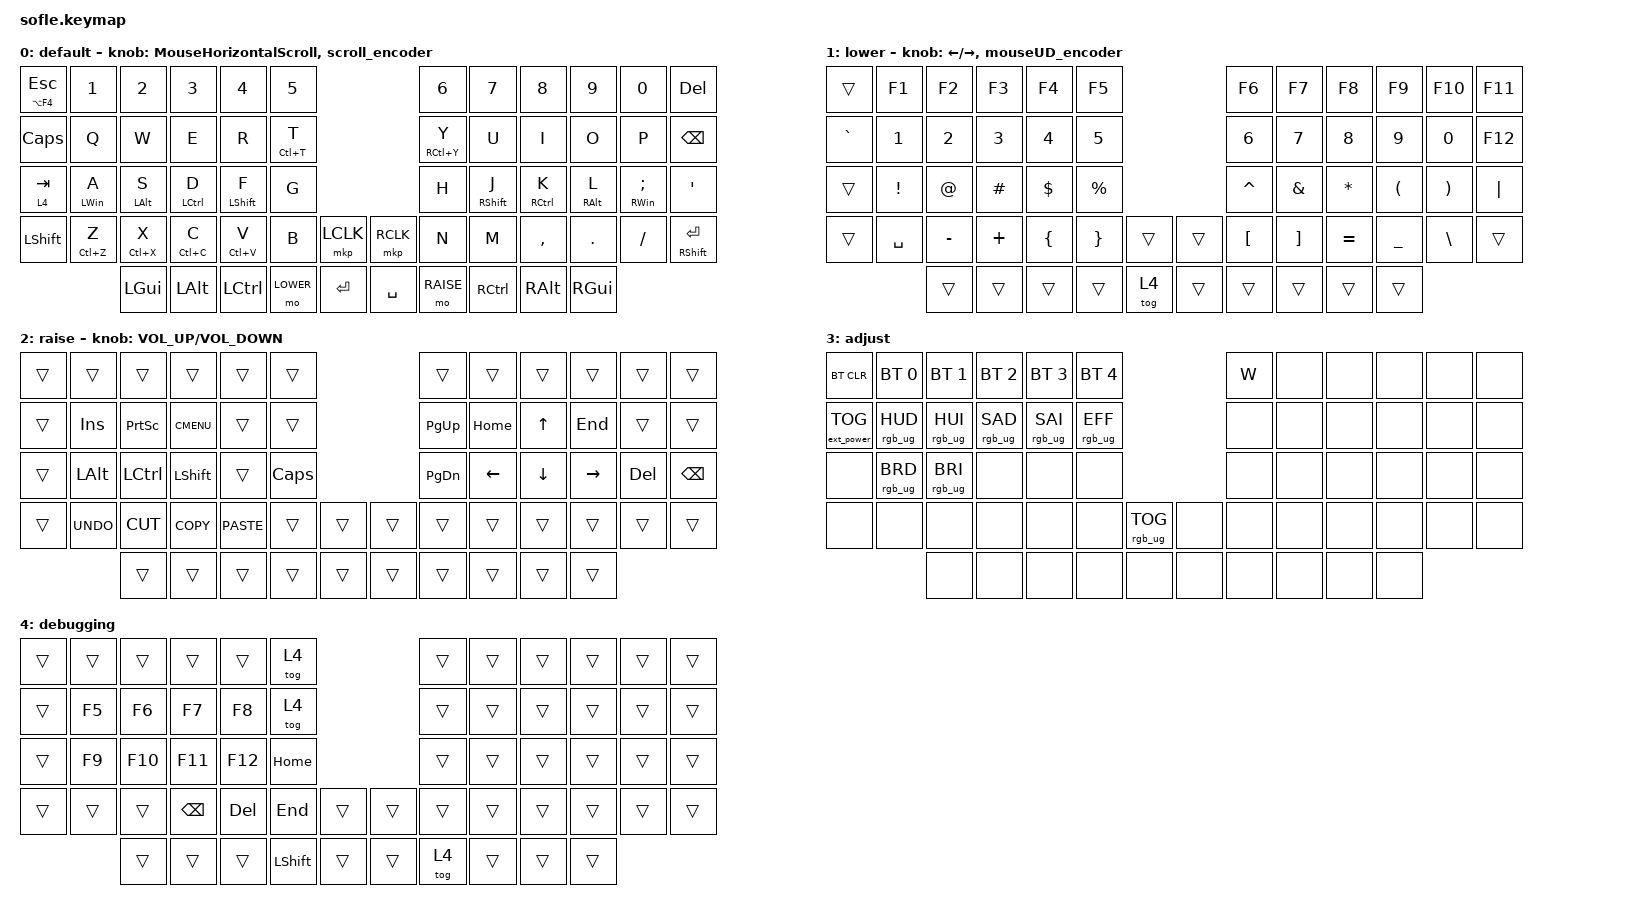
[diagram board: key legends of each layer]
/*
 * Copyright (c) 2020 The ZMK Contributors
 *
 * SPDX-License-Identifier: MIT
 */

#define ZMK_POINTING_DEFAULT_MOVE_VAL 24000   // default is 600
#define ZMK_POINTING_DEFAULT_SCRL_VAL 30     // default is 10

#include <behaviors.dtsi>
#include <dt-bindings/zmk/bt.h>
#include <dt-bindings/zmk/ext_power.h>
#include <dt-bindings/zmk/keys.h>
#include <dt-bindings/zmk/pointing.h>
#include <dt-bindings/zmk/rgb.h>

#define BASE 0
#define LOWER 1
#define RAISE 2
#define ADJUST 3

/ {
    // Activate ADJUST layer by pressing raise and lower

    conditional_layers {
        compatible = "zmk,conditional-layers";

        adjust_layer {
            if-layers = <LOWER RAISE>;
            then-layer = <ADJUST>;
        };
    };

    behaviors {
        scroll_encoder: scroll_encoder {
            compatible = "zmk,behavior-sensor-rotate";
            label = "SCROLL_ENCODER";
            #sensor-binding-cells = <0>;
            bindings = <&msc SCRL_UP>, <&msc SCRL_DOWN>;

            tap-ms = <50>;
        };

        mouseUD_encoder: mouseUD_encoder {
            compatible = "zmk,behavior-sensor-rotate";
            label = "MOUSEUD_ENCODER";
            #sensor-binding-cells = <0>;
            bindings = <&mmv MOVE_UP>, <&mmv MOVE_DOWN>;

            tap-ms = <20>;
        };

        mouseLR_encoder: mouseLR_encoder {
            compatible = "zmk,behavior-sensor-rotate";
            label = "MOUSELR_ENCODER";
            #sensor-binding-cells = <0>;
            bindings = <&mmv MOVE_LEFT>, <&mmv MOVE_RIGHT>;

            tap-ms = <20>;
        };

        HMShiftR: HMShiftR {
            compatible = "zmk,behavior-hold-tap";
            label = "HMSHIFTR";
            bindings = <&kp>, <&kp>;

            #binding-cells = <2>;
            tapping-term-ms = <200>;
            hold-trigger-key-positions = <0 1 2 3 4 5 12 13 14 15 16 17 24 25 26 27 28 29 36 37 38 39 40 41 42 50 51 52 53 54>;
            hold-trigger-on-release;
        };

        HMShiftL: HMShiftL {
            compatible = "zmk,behavior-hold-tap";
            label = "HMSHIFTL";
            bindings = <&kp>, <&kp>;

            #binding-cells = <2>;
            tapping-term-ms = <200>;
            hold-trigger-on-release;
            hold-trigger-key-positions = <6 7 8 9 10 11 18 19 20 21 22 23 30 31 32 33 34 35 43 44 45 46 47 48 49 55 56 57 58 59>;
        };

        HMR: HMR {
            compatible = "zmk,behavior-hold-tap";
            label = "HMR";
            bindings = <&kp>, <&kp>;

            #binding-cells = <2>;
            tapping-term-ms = <250>;
            hold-trigger-key-positions = <0 1 2 3 4 5 12 13 14 15 16 17 24 25 26 27 28 29 36 37 38 39 40 41 42 50 51 52 53 54>;
            hold-trigger-on-release;
            flavor = "tap-preferred";
        };

        HML: HML {
            compatible = "zmk,behavior-hold-tap";
            label = "HML";
            bindings = <&kp>, <&kp>;

            #binding-cells = <2>;
            tapping-term-ms = <250>;
            hold-trigger-on-release;
            hold-trigger-key-positions = <6 7 8 9 10 11 18 19 20 21 22 23 30 31 32 33 34 35 43 44 45 46 47 48 49 55 56 57 58 59>;
            flavor = "tap-preferred";
        };

        LongPress: LongPress {
            compatible = "zmk,behavior-hold-tap";
            label = "LONGPRESS";
            bindings = <&kp>, <&kp>;

            #binding-cells = <2>;
            tapping-term-ms = <350>;
            flavor = "tap-preferred";
        };

        LongPressModifier: LongPressModifier {
            compatible = "zmk,behavior-hold-tap";
            label = "LONGPRESSMODIFIER";
            bindings = <&mo>, <&kp>;

            #binding-cells = <2>;
            tapping-term-ms = <300>;
            flavor = "hold-preferred";
            hold-trigger-key-positions = <13 14 15 16 25 26 27 28 53 29 41 40 39>;
            hold-while-undecided;
        };

        MouseHorizontalScroll: MouseHorizontalScroll {
            compatible = "zmk,behavior-sensor-rotate";
            label = "MOUSEHORIZONTALSCROLL";
            #sensor-binding-cells = <0>;
            bindings = <&msc SCRL_LEFT>, <&msc SCRL_RIGHT>;

            tap-ms = <50>;
        };

        HMRshift2: HMRshift2 {
            compatible = "zmk,behavior-hold-tap";
            label = "HMRSHIFT2";
            bindings = <&kp>, <&kp>;

            #binding-cells = <2>;
            tapping-term-ms = <180>;
            hold-trigger-key-positions = <0 1 2 3 4 5 12 13 14 15 16 17 24 25 26 27 28 29 36 37 38 39 40 41 42 50 51 52 53 54>;
            hold-trigger-on-release;
            flavor = "balanced";
        };

        HMLshift2: HMLshift2 {
            compatible = "zmk,behavior-hold-tap";
            label = "HMLSHIFT2";
            bindings = <&kp>, <&kp>;

            #binding-cells = <2>;
            tapping-term-ms = <180>;
            hold-trigger-on-release;
            hold-trigger-key-positions = <6 7 8 9 10 11 18 19 20 21 22 23 30 31 32 33 34 35 43 44 45 46 47 48 49 55 56 57 58 59>;
            flavor = "balanced";
        };

        LongPressOnRelease: LongPressOnRelease {
            compatible = "zmk,behavior-hold-tap";
            label = "LONGPRESSONRELEASE";
            bindings = <&kp>, <&kp>;

            #binding-cells = <2>;
            tapping-term-ms = <350>;
            flavor = "tap-preferred";
            hold-trigger-on-release;
        };

        LongPressModKeyR: LongPressModKeyR {
            compatible = "zmk,behavior-hold-tap";
            label = "LONGPRESSMODKEYR";
            #binding-cells = <2>;
            tapping-term-ms = <300>;
            flavor = "hold-preferred";
            hold-while-undecided;
            bindings = <&kp>, <&kp>;

            hold-trigger-key-positions = <6 7 8 9 10 11 18 19 20 21 22 23 30 31 32 33 34 35 43 44 45 46 47 48 59 58 57 55>;
        };
    };

    keymap {
        compatible = "zmk,keymap";

        default_layer {
            label = "default";

            // ------------------------------------------------------------------------------------------------------------
            // |   `   |  1  |  2  |  3   |  4   |  5   |                   |  6   |  7    |  8    |  9   |   0   |       |
            // |  ESC  |  Q  |  W  |  E   |  R   |  T   |                   |  Y   |  U    |  I    |  O   |   P   | BKSPC |
            // |  TAB  |  A  |  S  |  D   |  F   |  G   |                   |  H   |  J    |  K    |  L   |   ;   |   '   |
            // | SHIFT |  Z  |  X  |  C   |  V   |  B   |  MUTE  |  |       |  N   |  M    |  ,    |  .   |   /   | SHIFT |
            //               | GUI | ALT  | CTRL | LOWER|  ENTER |  | SPACE | RAISE| CTRL  | ALT   | GUI  |

            bindings = <
&LongPress LA(F4) ESC     &kp N1                       &kp N2                       &kp N3              &kp N4                       &kp N5                                               &kp N6                       &kp N7                    &kp N8        &kp N9            &kp N0               &kp DELETE
&kp CAPSLOCK              &kp Q                        &kp W                        &kp E               &kp R                        &LongPressOnRelease LC(T) T                          &LongPressOnRelease RC(Y) Y  &kp U                     &kp I         &kp O             &kp P                &kp BSPC
&LongPressModifier 4 TAB  &HML LEFT_WIN A              &HML LEFT_ALT S              &HML LCTRL D        &HMLshift2 LSHIFT F          &kp G                                                &kp H                        &HMRshift2 RIGHT_SHIFT J  &HMR RCTRL K  &HMR RIGHT_ALT L  &HMR RIGHT_WIN SEMI  &kp SQT
&kp LSHFT                 &LongPressOnRelease LC(Z) Z  &LongPressOnRelease LC(X) X  &LongPress LC(C) C  &LongPressOnRelease LC(V) V  &kp B                        &mkp LCLK    &mkp RCLK  &kp N                        &kp M                     &kp COMMA     &kp DOT           &kp FSLH             &LongPressModKeyR RIGHT_SHIFT ENTER
                                                       &kp LGUI                     &kp LALT            &kp LCTRL                    &mo LOWER                    &kp RET      &kp SPACE  &mo RAISE                    &kp RCTRL                 &kp RALT      &kp RGUI
            >;

            sensor-bindings = <&MouseHorizontalScroll>, <&scroll_encoder>;
        };

        lower_layer {
            label = "lower";

            // TODO: Some binds are waiting for shifted keycode support.
            // ------------------------------------------------------------------------------------------------------------
            // |       |  F1 |  F2 |  F3  |  F4  |  F5  |                   |  F6  |  F7   |  F8   |  F9  |  F10  |  F11  |
            // |   `   |  1  |  2  |  3   |  4   |  5   |                   |  6   |  7    |  8    |  9   |   0   |  F12  |
            // |       |  !  |  @  |  #   |  $   |  %   |                   |  ^   |  &    |  *    |  (   |   )   |   |   |
            // |       |  =  |  -  |  +   |  {   |  }   |        |  |       |  [   |  ]    |  ;    |  :   |   \   |       |
            //               |     |      |      |      |        |  |       |      |       |       |      |

            bindings = <
&trans     &kp F1     &kp F2     &kp F3    &kp F4    &kp F5                       &kp F6     &kp F7    &kp F8     &kp F9          &kp F10   &kp F11
&kp GRAVE  &kp N1     &kp N2     &kp N3    &kp N4    &kp N5                       &kp N6     &kp N7    &kp N8     &kp N9          &kp N0    &kp F12
&trans     &kp EXCL   &kp AT     &kp HASH  &kp DLLR  &kp PRCNT                    &kp CARET  &kp AMPS  &kp STAR   &kp LPAR        &kp RPAR  &kp PIPE
&trans     &kp SPACE  &kp MINUS  &kp PLUS  &kp LBRC  &kp RBRC   &trans    &trans  &kp LBKT   &kp RBKT  &kp EQUAL  &kp UNDERSCORE  &kp BSLH  &trans
                      &trans     &trans    &trans    &trans     &tog 4    &trans  &trans     &trans    &trans     &trans
            >;

            sensor-bindings =
                <&inc_dec_kp LEFT_ARROW RIGHT_ARROW>,
                <&mouseUD_encoder>;
        };

        raise_layer {
            label = "raise";

            // ------------------------------------------------------------------------------------------------------------
            // | BTCLR | BT1  | BT2  |  BT3  |  BT4  |  BT5 |                |      |      |       |      |       |       |
            // |       | INS  | PSCR | GUI   |       |      |                | PGUP |      |   ^   |      |       |       |
            // |       | ALT  | CTRL | SHIFT |       | CAPS |                | PGDN |   <- |   v   |  ->  |  DEL  | BKSPC |
            // |       | UNDO | CUT  | COPY  | PASTE |      |      |  |      |      |      |       |      |       |       |
            //                |      |       |       |      |      |  |      |      |      |       |      |

            bindings = <
&trans  &trans      &trans     &trans       &trans       &trans                      &trans     &trans    &trans    &trans     &trans   &trans
&trans  &kp INS     &kp PSCRN  &kp K_CMENU  &trans       &trans                      &kp PG_UP  &kp HOME  &kp UP    &kp END    &trans   &trans
&trans  &kp LALT    &kp LCTRL  &kp LSHFT    &trans       &kp CLCK                    &kp PG_DN  &kp LEFT  &kp DOWN  &kp RIGHT  &kp DEL  &kp BSPC
&trans  &kp K_UNDO  &kp K_CUT  &kp K_COPY   &kp K_PASTE  &trans    &trans    &trans  &trans     &trans    &trans    &trans     &trans   &trans
                    &trans     &trans       &trans       &trans    &trans    &trans  &trans     &trans    &trans    &trans
            >;

            sensor-bindings = <&inc_dec_kp C_VOLUME_UP C_VOLUME_DOWN>;
        };

        adjust_layer {
            // ----------------------------------------------------------------------------------------------------------------------------
            // | BTCLR  |  BT1    |  BT2    |   BT3   |   BT4   |   BT5   |                  |      |      |       |      |       |       |
            // | EXTPWR | RGB_HUD | RGB_HUI | RGB_SAD | RGB_SAI | RGB_EFF |                  |      |      |       |      |       |       |
            // |        | RGB_BRD | RGB_BRI |         |         |         |                  |      |      |       |      |       |       |
            // |        |         |         |         |         |         | RGB_TOG | |      |      |      |       |      |       |       |
            //                    |         |         |         |         |         | |      |      |      |       |      |

            label = "adjust";
            bindings = <
&bt BT_CLR         &bt BT_SEL 0     &bt BT_SEL 1     &bt BT_SEL 2     &bt BT_SEL 3     &bt BT_SEL 4                               &kp W  &none  &none  &none  &none  &none
&ext_power EP_TOG  &rgb_ug RGB_HUD  &rgb_ug RGB_HUI  &rgb_ug RGB_SAD  &rgb_ug RGB_SAI  &rgb_ug RGB_EFF                            &none  &none  &none  &none  &none  &none
&none              &rgb_ug RGB_BRD  &rgb_ug RGB_BRI  &none            &none            &none                                      &none  &none  &none  &none  &none  &none
&none              &none            &none            &none            &none            &none            &rgb_ug RGB_TOG    &none  &none  &none  &none  &none  &none  &none
                                    &none            &none            &none            &none            &none              &none  &none  &none  &none  &none
            >;
        };

        debugging_layer {
            bindings = <
&trans  &trans  &trans   &trans         &trans   &tog 4                            &trans  &trans  &trans  &trans  &trans  &trans
&trans  &kp F5  &kp F6   &kp F7         &kp F8   &tog 4                            &trans  &trans  &trans  &trans  &trans  &trans
&trans  &kp F9  &kp F10  &kp F11        &kp F12  &kp HOME                          &trans  &trans  &trans  &trans  &trans  &trans
&trans  &trans  &trans   &kp BACKSPACE  &kp DEL  &kp END         &trans    &trans  &trans  &trans  &trans  &trans  &trans  &trans
                &trans   &trans         &trans   &kp LEFT_SHIFT  &trans    &trans  &tog 4  &trans  &trans  &trans
            >;

            label = "debugging";
        };
    };
};
